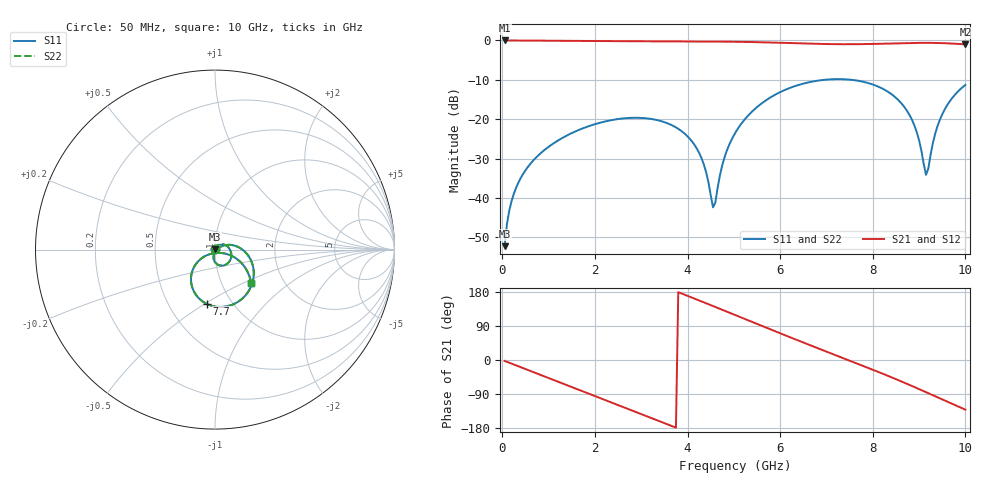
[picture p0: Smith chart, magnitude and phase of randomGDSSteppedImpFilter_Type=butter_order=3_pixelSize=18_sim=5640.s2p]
! freq	dB(S11)	phase(S11)	dB(S12)	phase(S12)
!  dB(S21)	phase(S21)	dB(S22)	phase(S22)
!S-par simulation data
#  GHz  S  DB  R 50
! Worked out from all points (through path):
!   200 points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, 50 MHz to 10 GHz, reference 50 ohm
!   highest |S21| = -0.01 dB at 50 MHz (marker M1); lowest = -1.0 dB at 10 GHz (marker M2)
!   group delay of S21, straight-line fit = 135 ps
!   lowest |S11| = -52.3 dB at 50 MHz (marker M3), VSWR 1.00, Z = 50.1 + j0.235 ohm
!   |S11| at or under -10 dB: start of sweep to 6.955 GHz; 7.539 GHz to end of sweep
!   |S22| runs from -52.3 to -9.8 dB; largest |S21 - S12| = 0
!   S11 on the Smith chart (normalised r, x): 50 MHz: 1.00, +0.00; 7.7 GHz: 0.77, -0.51; 10 GHz: 1.37, -0.55
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0.05  -52.25 73.8  -0.01 -2.4  -0.01 -2.4  -52.26 73.8
0.1  -46.68 77.7  -0.01 -4.8  -0.01 -4.8  -46.68 77.7
0.2  -40.82 76.4  -0.02 -9.6  -0.02 -9.6  -40.82 76.4
0.5  -32.99 64.9  -0.04 -23.8  -0.04 -23.8  -32.99 64.9
1.15  -25.80 35.6  -0.08 -54.7  -0.08 -54.7  -25.80 35.7
1.75  -22.28 7.7  -0.12 -83.2  -0.12 -83.2  -22.27 7.8
2.5  -19.97 -27.4  -0.18 -118.8  -0.18 -118.8  -19.96 -27.2
3.4  -20.39 -69.0  -0.24 -161.8  -0.24 -161.8  -20.39 -68.8
4.2  -27.46 -101.4  -0.27 159.6  -0.27 159.6  -27.45 -101.0
4.4  -33.40 -101.0  -0.28 149.8  -0.28 149.8  -33.37 -100.4
4.55  -42.38 -51.6  -0.29 142.4  -0.29 142.4  -42.16 -51.2
4.8  -29.64 27.1  -0.31 130.1  -0.31 130.1  -29.63 26.9
5.05  -23.09 21.8  -0.34 117.7  -0.34 117.7  -23.09 21.7
5.85  -14.06 -13.2  -0.54 77.9  -0.54 77.9  -14.06 -13.2
6.7  -10.44 -52.8  -0.84 36.5  -0.84 36.5  -10.44 -52.7
7.7  -10.27 -98.3  -0.95 -11.0  -0.95 -11.0  -10.27 -98.3
8.35  -13.21 -127.7  -0.78 -42.9  -0.78 -42.9  -13.21 -127.7
8.85  -20.25 -146.5  -0.64 -68.8  -0.64 -68.8  -20.26 -146.7
9  -25.37 -144.8  -0.62 -76.8  -0.62 -76.8  -25.40 -145.2
9.15  -34.13 -91.8  -0.61 -84.9  -0.61 -84.9  -34.34 -91.8
9.45  -20.10 -20.8  -0.67 -101.3  -0.67 -101.3  -20.11 -20.4
10  -11.30 -42.7  -1.00 -131.1  -1.00 -131.1  -11.30 -42.5
